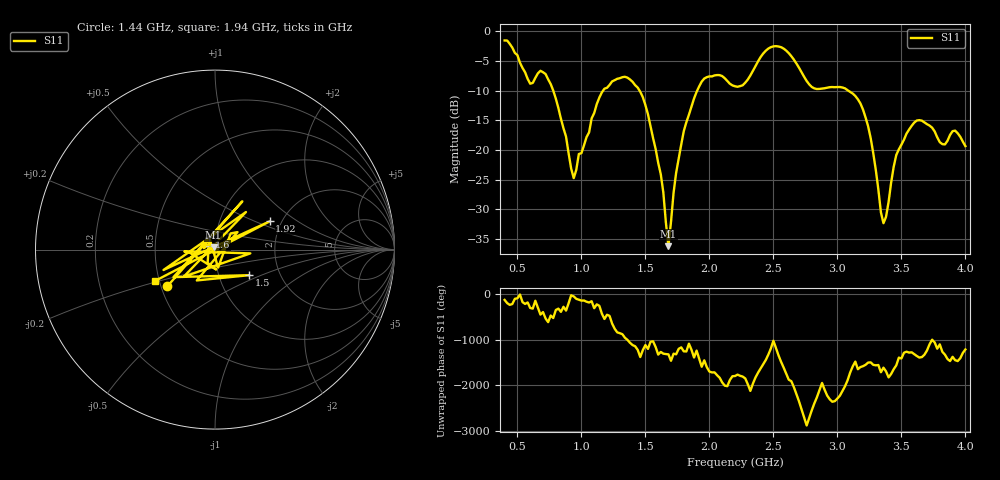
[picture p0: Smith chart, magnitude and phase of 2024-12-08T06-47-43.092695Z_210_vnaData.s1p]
!Created with skrf (http://scikit-rf.org).
# Hz S RI R 50.0
!freq ReS11 ImS11
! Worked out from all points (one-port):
!   181 points, 400 MHz to 4 GHz, reference 50 ohm
!   lowest |S11| = -36.2 dB at 1.68 GHz (marker M1), VSWR 1.03, Z = 49.2 + j1.32 ohm
!   |S11| at or under -10 dB: 780.1 MHz to 1.169 GHz (389.4 MHz wide, 39.9 % of centre); 1.454 GHz to 1.905 GHz (450.3 MHz wide, 26.8 % of centre); 3.084 GHz to end of sweep
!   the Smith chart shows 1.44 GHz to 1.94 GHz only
!   S11 on the Smith chart (normalised r, x): 1.44 GHz: 0.54, -0.25; 1.5 GHz: 1.40, -0.42; 1.6 GHz: 0.93, +0.13; 1.92 GHz: 1.74, +0.62; 1.94 GHz: 0.47, -0.19
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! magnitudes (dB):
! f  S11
! 400 MHz  -1.5
! 600 MHz  -8.8
! 720 MHz  -7.2
! 860 MHz  -16.4
! 940 MHz  -24.8
! 1.14 GHz  -11.2
! 1.3 GHz  -7.9
! 1.44 GHz  -9.5
! 1.5 GHz  -12.4
! 1.6 GHz  -22.2
! 1.64 GHz  -27.2
! 1.68 GHz  -36.2
! 1.76 GHz  -21.4
! 1.92 GHz  -9.3
! 1.94 GHz  -8.5
! 2.2 GHz  -9.3
! 2.48 GHz  -2.7
! 2.66 GHz  -4.8
! 2.8 GHz  -9.4
! 3.1 GHz  -10.2
! 3.24 GHz  -16.0
! 3.36 GHz  -32.4
! 3.46 GHz  -20.9
! 3.56 GHz  -16.6
! 3.66 GHz  -15.1
! 3.82 GHz  -19.0
! 3.92 GHz  -16.8
! 4 GHz  -19.4
